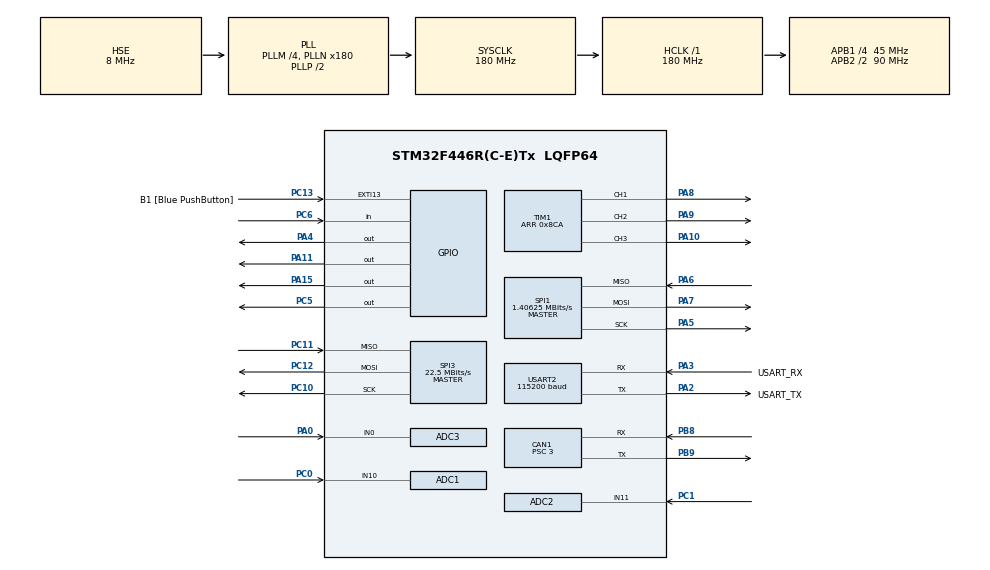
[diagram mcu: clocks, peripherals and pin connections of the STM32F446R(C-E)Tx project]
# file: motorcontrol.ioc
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ADC1.Channel-0\#ChannelRegularConversion=ADC_CHANNEL_10
ADC1.ClockPrescaler=ADC_CLOCK_SYNC_PCLK_DIV4
ADC1.EOCSelection=ADC_EOC_SINGLE_CONV
ADC1.ExternalTrigConv=ADC_SOFTWARE_START
ADC1.Mode=ADC_TRIPLEMODE_REGSIMULT
ADC1.NbrOfConversion=1
ADC1.NbrOfConversionFlag=1
ADC1.Rank-0\#ChannelRegularConversion=1
ADC1.SamplingTime-0\#ChannelRegularConversion=ADC_SAMPLETIME_3CYCLES
ADC1.master=1
ADC2.Channel-0\#ChannelRegularConversion=ADC_CHANNEL_11
ADC2.ClockPrescaler=ADC_CLOCK_SYNC_PCLK_DIV4
ADC2.Mode=ADC_TRIPLEMODE_REGSIMULT
ADC2.NbrOfConversionFlag=1
ADC2.Rank-0\#ChannelRegularConversion=1
ADC2.SamplingTime-0\#ChannelRegularConversion=ADC_SAMPLETIME_3CYCLES
ADC3.Channel-2\#ChannelRegularConversion=ADC_CHANNEL_0
ADC3.ClockPrescaler=ADC_CLOCK_SYNC_PCLK_DIV4
ADC3.Mode=ADC_TRIPLEMODE_REGSIMULT
ADC3.NbrOfConversionFlag=1
ADC3.Rank-2\#ChannelRegularConversion=1
ADC3.SamplingTime-2\#ChannelRegularConversion=ADC_SAMPLETIME_3CYCLES
CAN1.BS1=CAN_BS1_12TQ
CAN1.BS2=CAN_BS2_2TQ
CAN1.CalculateBaudRate=1000000
CAN1.CalculateTimeBit=1000
CAN1.CalculateTimeQuantum=66.66666666666666
CAN1.Prescaler=3
Mcu.Family=STM32F4
Mcu.Name=STM32F446R(C-E)Tx
Mcu.Package=LQFP64
NVIC.CAN1_RX0_IRQn=true\:0\:0\:false\:false\:true\:true\:true\:true
NVIC.PriorityGroup=NVIC_PRIORITYGROUP_1
NVIC.TIM1_UP_TIM10_IRQn=true\:0\:0\:false\:false\:true\:true\:true\:true
NVIC.USART2_IRQn=true\:1\:0\:true\:false\:true\:true\:true\:true
PA0-WKUP.Signal=ADCx_IN0
PA10.GPIO_Speed=GPIO_SPEED_FREQ_VERY_HIGH
PA10.Signal=S_TIM1_CH3
PA11.GPIO_Speed=GPIO_SPEED_FREQ_VERY_HIGH
PA11.Signal=GPIO_Output
PA13.GPIO_Label=TMS
PA13.Mode=Serial_Wire
PA13.Signal=SYS_JTMS-SWDIO
PA14.GPIO_Label=TCK
PA14.Mode=Serial_Wire
PA14.Signal=SYS_JTCK-SWCLK
PA15.GPIO_Speed=GPIO_SPEED_FREQ_VERY_HIGH
PA15.Signal=GPIO_Output
PA2.GPIO_Label=USART_TX
PA2.GPIO_PuPd=GPIO_PULLDOWN
PA2.Mode=Asynchronous
PA2.Signal=USART2_TX
PA3.GPIO_Label=USART_RX
PA3.GPIO_PuPd=GPIO_PULLDOWN
PA3.Mode=Asynchronous
PA3.Signal=USART2_RX
PA4.GPIO_Speed=GPIO_SPEED_FREQ_VERY_HIGH
PA4.Signal=GPIO_Output
PA5.Mode=Full_Duplex_Master
PA5.Signal=SPI1_SCK
PA6.Mode=Full_Duplex_Master
PA6.Signal=SPI1_MISO
PA7.Mode=Full_Duplex_Master
PA7.Signal=SPI1_MOSI
PA8.GPIO_Speed=GPIO_SPEED_FREQ_VERY_HIGH
PA8.Signal=S_TIM1_CH1
PA9.GPIO_Speed=GPIO_SPEED_FREQ_VERY_HIGH
PA9.Signal=S_TIM1_CH2
PB3.GPIO_Label=SWO
PB3.Signal=SYS_JTDO-SWO
PB8.Mode=CAN_Activate
PB8.Signal=CAN1_RX
PB9.Mode=CAN_Activate
PB9.Signal=CAN1_TX
PC0.Signal=ADCx_IN10
PC1.Signal=ADCx_IN11
PC10.Mode=Full_Duplex_Master
PC10.Signal=SPI3_SCK
PC11.Mode=Full_Duplex_Master
PC11.Signal=SPI3_MISO
PC12.Mode=Full_Duplex_Master
PC12.Signal=SPI3_MOSI
PC13.GPIO_Label=B1 [Blue PushButton]
PC13.GPIO_ModeDefaultEXTI=GPIO_MODE_IT_FALLING
PC13.Signal=GPXTI13
PC5.GPIO_Speed=GPIO_SPEED_FREQ_VERY_HIGH
PC5.Signal=GPIO_Output
PC6.Signal=GPIO_Input
PH0-OSC_IN.Mode=HSE-External-Oscillator
PH0-OSC_IN.Signal=RCC_OSC_IN
PH1-OSC_OUT.Mode=HSE-External-Oscillator
PH1-OSC_OUT.Signal=RCC_OSC_OUT
ProjectManager.HeapSize=0x200
ProjectManager.StackSize=0x400
ProjectManager.TargetToolchain=STM32CubeIDE
RCC.48MHZClocksFreq_Value=84000000
RCC.AHBFreq_Value=180000000
RCC.APB1CLKDivider=RCC_HCLK_DIV4
RCC.APB1Freq_Value=45000000
RCC.APB1TimFreq_Value=90000000
RCC.APB2CLKDivider=RCC_HCLK_DIV2
RCC.APB2Freq_Value=90000000
RCC.APB2TimFreq_Value=180000000
RCC.CortexFreq_Value=180000000
RCC.FLatency-AdvancedSettings=FLASH_LATENCY_5
RCC.HCLKFreq_Value=180000000
RCC.HSE_VALUE=8000000
RCC.HSI_VALUE=16000000
RCC.PLLM=4
RCC.PLLN=180
RCC.PLLSourceVirtual=RCC_PLLSOURCE_HSE
RCC.SYSCLKFreq_VALUE=180000000
RCC.SYSCLKSource=RCC_SYSCLKSOURCE_PLLCLK
RCC.USBFreq_Value=180000000
RCC.VCOOutputFreq_Value=360000000
SH.ADCx_IN0.0=ADC3_IN0,IN0
SH.ADCx_IN10.0=ADC1_IN10,IN10
SH.ADCx_IN11.0=ADC2_IN11,IN11
SH.S_TIM1_CH1.0=TIM1_CH1,PWM Generation1 CH1
SH.S_TIM1_CH2.0=TIM1_CH2,PWM Generation2 CH2
SH.S_TIM1_CH3.0=TIM1_CH3,PWM Generation3 CH3
SPI1.BaudRatePrescaler=SPI_BAUDRATEPRESCALER_64
SPI1.CLKPhase=SPI_PHASE_2EDGE
SPI1.CalculateBaudRate=1.40625 MBits/s
SPI1.DataSize=SPI_DATASIZE_16BIT
SPI1.Direction=SPI_DIRECTION_2LINES
SPI1.FirstBit=SPI_FIRSTBIT_MSB
SPI1.Mode=SPI_MODE_MASTER
SPI1.VirtualType=VM_MASTER
SPI3.BaudRatePrescaler=SPI_BAUDRATEPRESCALER_2
SPI3.CalculateBaudRate=22.5 MBits/s
SPI3.DataSize=SPI_DATASIZE_16BIT
SPI3.Direction=SPI_DIRECTION_2LINES
SPI3.Mode=SPI_MODE_MASTER
SPI3.VirtualType=VM_MASTER
TIM1.AutoReloadPreload=TIM_AUTORELOAD_PRELOAD_ENABLE
TIM1.BreakPolarity=TIM_BREAKPOLARITY_HIGH
TIM1.Channel-PWM\ Generation1\ CH1=TIM_CHANNEL_1
TIM1.Channel-PWM\ Generation2\ CH2=TIM_CHANNEL_2
TIM1.Channel-PWM\ Generation3\ CH3=TIM_CHANNEL_3
TIM1.CounterMode=TIM_COUNTERMODE_CENTERALIGNED1
TIM1.OCFastMode_PWM-PWM\ Generation1\ CH1=TIM_OCFAST_ENABLE
TIM1.OCFastMode_PWM-PWM\ Generation2\ CH2=TIM_OCFAST_ENABLE
TIM1.OCFastMode_PWM-PWM\ Generation3\ CH3=TIM_OCFAST_ENABLE
TIM1.OCPolarity_1=TIM_OCPOLARITY_LOW
TIM1.OCPolarity_2=TIM_OCPOLARITY_LOW
TIM1.OCPolarity_3=TIM_OCPOLARITY_LOW
TIM1.Period=0x8CA
TIM1.RepetitionCounter=1
USART2.BaudRate=115200
USART2.VirtualMode=VM_ASYNC
VP_TIM1_VS_ClockSourceINT.Mode=Internal
board=NUCLEO-F446RE

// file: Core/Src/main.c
/* USER CODE BEGIN Header */
/**
  ******************************************************************************
  * @file           : main.c
  * @brief          : Main program body
  ******************************************************************************
  * @attention
  *
  * <h2><center>&copy; Copyright (c) 2020 STMicroelectronics.
  * All rights reserved.</center></h2>
  *
  * This software component is licensed by ST under BSD 3-Clause license,
  * the "License"; You may not use this file except in compliance with the
  * License. You may obtain a copy of the License at:
  *                        opensource.org/licenses/BSD-3-Clause
  *
  ******************************************************************************
  */

/// high-bandwidth 3-phase motor control for robots
/// Written by Ben Katz, with much inspiration from Bayley Wang, Nick Kirkby, Shane Colton, David Otten, and others
/// Hardware documentation can be found at build-its.blogspot.com

/* USER CODE END Header */
#include "main.h"
#include "adc.h"
#include "can.h"
#include "spi.h"
#include "tim.h"
#include "usart.h"
#include "gpio.h"

/* USER CODE BEGIN Includes */
#include "structs.h"
#include <stdio.h>
#include <string.h>

#include "stm32f4xx_flash.h"
#include "flash_writer.h"
#include "position_sensor.h"
#include "preference_writer.h"
#include "hw_config.h"
#include "user_config.h"
#include "fsm.h"
#include "drv8323.h"
#include "foc.h"
#include "math_ops.h"
#include "calibration.h"
#include "version_info.h"
/* USER CODE END Includes */

/* USER CODE BEGIN PM */

//#define VERSION_NUM 2.0f -> defined in main.h (because CAN pack_reply needs to use)

/* USER CODE END PM */

/* USER CODE BEGIN PV */

/* Flash Registers */
float __float_reg[FLOAT_REG_LENGTH];
int __int_reg[INT_REG_LENGTH];
PreferenceWriter prefs;

int count = 0;

/* Structs for control, etc */

ControllerStruct controller;
ObserverStruct observer;
COMStruct com;
FSMStruct state;
EncoderStruct comm_encoder;
DRVStruct drv;
CalStruct comm_encoder_cal;
CANTxMessage can_tx;
CANRxMessage can_rx;
HallCalStruct hall_cal;

/* init but don't allocate calibration arrays */
int *error_array = NULL;
int *lut_array = NULL;

uint8_t Serial2RxBuffer[1];

/* USER CODE END PV */

void SystemClock_Config(void);

int main(void)
{

  /* MCU Configuration--------------------------------------------------------*/

  /* Reset of all peripherals, Initializes the Flash interface and the Systick. */
  HAL_Init();

  /* Configure the system clock */
  SystemClock_Config();

  /* Initialize all configured peripherals */
  MX_GPIO_Init();
  MX_USART2_UART_Init();
  MX_TIM1_Init();
  MX_CAN1_Init();
  MX_SPI1_Init();
  MX_SPI3_Init();
  MX_ADC1_Init();
  MX_ADC2_Init();
  MX_ADC3_Init();
  /* USER CODE BEGIN 2 */

  /* Load settings from flash */
  preference_writer_init(&prefs, 6);
  preference_writer_load(prefs);

  /* Sanitize configs in case flash is empty or is wrong value*/
  if(                          MIN_E_ZERO > E_ZERO                   || MAX_E_ZERO < E_ZERO)                   {E_ZERO = 0;}
  if(                          MIN_M_ZERO > M_ZERO                   || MAX_M_ZERO < M_ZERO)                   {M_ZERO = 0;}
  if(isnan(GR)              || MIN_GR > GR		                     || MAX_GR < GR)                 		   {GR = 6.0f;}
  if(isnan(KT)	            || MIN_KT > KT                           || MAX_KT < KT)                           {KT = 0.08f;}
  if(isnan(I_BW)            || MIN_I_BW > I_BW                       || MAX_I_BW < I_BW)				       {I_BW = 1000;}
  if(isnan(I_MAX)           || MIN_I_MAX > I_MAX                     || MAX_I_MAX < I_MAX)					   {I_MAX = 40;}
  if(isnan(P_MAX)           || MIN_P_MAX > P_MAX                     || MAX_P_MAX < P_MAX)	                   {P_MAX = 6.283f;}
  if(isnan(P_MIN)           || MIN_P_MIN > P_MIN                     || MAX_P_MIN < P_MIN)	                   {P_MIN = 0.0f;}
  if(isnan(V_MAX)           || MIN_V_MAX > V_MAX                     || MAX_V_MAX < V_MAX)	                   {V_MAX = 45.0f;}
  if(isnan(V_MIN)           || MIN_V_MIN > V_MIN                     || MAX_V_MIN < V_MIN)	                   {V_MIN = -45.0f;}
  if(isnan(T_MAX)           || MIN_T_MAX > T_MAX                     || MAX_T_MAX < T_MAX)                     {T_MAX = 20.0f;}
  if(isnan(T_MIN)           || MIN_T_MIN > T_MIN                     || MAX_T_MIN < T_MIN)	                   {T_MIN = -20.0f;}
  if(isnan(KP_MAX)          || MIN_KP_MAX > KP_MAX                   || MAX_KP_MAX < KP_MAX)			       {KP_MAX = 500.0f;}
  if(isnan(KI_MAX)          || MIN_KI_MAX > KI_MAX                   || MAX_KI_MAX < KI_MAX)      			   {KI_MAX = 0.0f;}
  if(isnan(KD_MAX)          || MIN_KD_MAX > KD_MAX                   || MAX_KD_MAX < KD_MAX)				   {KD_MAX = 5.0f;}
  if(isnan(I_FW_MAX)        || MIN_I_FW_MAX > I_FW_MAX               || MAX_I_FW_MAX < I_FW_MAX)			   {I_FW_MAX = 0.0f;}
  if(isnan(I_MAX_CONT)      || MIN_I_MAX_CONT > I_MAX_CONT           || MAX_I_MAX_CONT < I_MAX_CONT)           {I_MAX_CONT = 14.0f;}
  if(isnan(I_CAL)           || MIN_I_CAL > I_CAL                     || MAX_I_CAL < I_CAL)					   {I_CAL = 5.0f;}
  if(HALL_CAL_DIR != 1 && HALL_CAL_DIR != -1)												      			   {HALL_CAL_DIR = 1;}
  if(isnan(HALL_CAL_OFFSET) || MIN_HALL_CAL_OFFSET > HALL_CAL_OFFSET || MAX_HALL_CAL_OFFSET < HALL_CAL_OFFSET) {HALL_CAL_OFFSET = 0.0f;}
  if(isnan(HALL_CAL_SPEED)  || MIN_HALL_CAL_SPEED > HALL_CAL_SPEED   || MAX_HALL_CAL_SPEED < HALL_CAL_SPEED)   {HALL_CAL_SPEED = 0.25f;}
  if(						   MIN_CAN_ID > CAN_ID                   || MAX_CAN_ID < CAN_ID)                   {CAN_ID = 1;}
  if(                          MIN_CAN_MASTER > CAN_MASTER           || MAX_CAN_MASTER < CAN_MASTER)           {CAN_MASTER = 0;}
  if(                          MIN_CAN_TIMEOUT > CAN_TIMEOUT         || MAX_CAN_TIMEOUT < CAN_TIMEOUT)         {CAN_TIMEOUT = 0;}
  if(isnan(R_NOMINAL)       || MIN_R_NOMINAL > R_NOMINAL             || MAX_R_NOMINAL < R_NOMINAL)             {R_NOMINAL = 0.0f;}
  if(isnan(TEMP_MAX)        || MIN_TEMP_MAX > TEMP_MAX               || MAX_TEMP_MAX < TEMP_MAX)               {TEMP_MAX = 125.0f;}
  if(isnan(PPAIRS)          || MIN_PPAIRS > PPAIRS                   || MAX_PPAIRS < PPAIRS)                   {PPAIRS = 21.0f;}

  user_config_initialize();

//  printf("\r\nFirmware Version Number: %.2f\r\n", VERSION_NUM);
  printf("\r\n= = = = = Version Information = = = = =\r\n");
  printf("\r\nFirmware Version:  %s\r\n", FIRMWARE_VERSION);
  printf("\r\nBuild Date:  %s\r\n", FIRMWARE_DATE);
  printf("Build Time:  %s\r\n", FIRMWARE_TIME);
  printf("\r\nAuthor:  %s\r\n", AUTHOR_NAME);
  printf("\r\nModification Info:  %s\r\n", MODIFICATION_INFO);
  printf("\r\n= = = = = Program Started = = = = =\r\n");

  /* Controller Setup */
  if(PHASE_ORDER){							// Timer channel to phase mapping

  }
  else{

  }

  init_controller_params(&controller);

  /* calibration "encoder" zeroing */
  memset(&comm_encoder_cal.cal_position, 0, sizeof(EncoderStruct));

  /* initialize the parameters of hall sensor */
  hall_cal.hall_input = 1;
  hall_cal.hall_preinput = 1;
  hall_cal.hall_cal_pcmd = 0;
  hall_cal.hall_cal_speed = 0.25; // rad/s
  hall_cal.hall_present_pos = 0; // calibrate the previous position of encoder
  hall_cal.hall_in_pos = 0;  // read the position from 1 to 0 (magnet enters the area of hall sensor)
  hall_cal.hall_out_pos = 0; // read the position from 0 to 1 (magnet exits the area of hall sensor)
  hall_cal.hall_mid_pos = 0;
  hall_cal. hall_cal_offset = 0; // rad
  hall_cal.hall_cal_count = 0;
  hall_cal.hall_cal_state = CODE_HALL_UNCALIBRATED;

  /* commutation encoder setup */
  comm_encoder.m_zero = M_ZERO;
  comm_encoder.e_zero = E_ZERO;
  comm_encoder.ppairs = PPAIRS;

  if(EN_ENC_LINEARIZATION){memcpy(&comm_encoder.offset_lut, &ENCODER_LUT, sizeof(comm_encoder.offset_lut));}	// Copy the linearization lookup table
  else{memset(&comm_encoder.offset_lut, 0, sizeof(comm_encoder.offset_lut));}
  ps_warmup(&comm_encoder, 100);			// clear the noisy data when the encoder first turns on

  //for(int i = 0; i<128; i++){printf("%d\r\n", comm_encoder.offset_lut[i]);}

  /* Turn on ADCs */
  HAL_ADC_Start(&hadc1);
  HAL_ADC_Start(&hadc2);
  HAL_ADC_Start(&hadc3);

  /* DRV8323 setup */
  DRV_CS_HIGH; 	// CS high
  GPIO_ENABLE;   // GPIO ENABLE_PIN HIGH
  HAL_Delay(1);
  drv_calibrate(drv);
  HAL_Delay(1);
  drv_write_DCR(drv, 0x0, 0x0, 0x0, PWM_MODE_3X, 0x0, 0x0, 0x0, 0x0, 0x1);
  HAL_Delay(1);
  drv_write_CSACR(drv, 0x0, 0x1, 0x0, CSA_GAIN_40, 0x0, 0x0, 0x0, 0x0, SEN_LVL_1_0);
  HAL_Delay(1);
  drv_write_OCPCR(drv, TRETRY_4MS, DEADTIME_200NS, OCP_RETRY, OCP_DEG_8US, VDS_LVL_1_88);
  zero_current(&controller);
  drv_enable_gd(drv);
  GPIO_DISABLE;
//  printf("ADC A OFFSET: %d     ADC B OFFSET: %d\r\n", controller.adc_a_offset, controller.adc_b_offset);

  /* Turn on PWM */
  HAL_TIM_PWM_Start(&htim1, TIM_CHANNEL_1);
  HAL_TIM_PWM_Start(&htim1, TIM_CHANNEL_2);
  HAL_TIM_PWM_Start(&htim1, TIM_CHANNEL_3);

  /* CAN setup */
  can_rx_init(&can_rx);
  can_tx_init(&can_tx);
  HAL_CAN_Start(&CAN_H); //start CAN
  //__HAL_CAN_ENABLE_IT(&CAN_H, CAN_IT_RX_FIFO0_MSG_PENDING); // Start can interrupt

  /* Set Interrupt Priorities */
  HAL_NVIC_SetPriority(PWM_ISR, 0x0,0x0); // commutation > communication
  HAL_NVIC_SetPriority(CAN_ISR, 0x01, 0x01);

  /* Start the FSM */
  state.state = MENU_MODE;
  state.next_state = MENU_MODE;
  state.ready = 1;
  state.print_uart_msg = 0;
  enter_menu_state();

  /* Turn on interrupts */
  HAL_UART_Receive_IT(&huart2, (uint8_t *)Serial2RxBuffer, 1);
  HAL_TIM_Base_Start_IT(&htim1);

  /* USER CODE END 2 */

  /* Infinite loop */
  /* USER CODE BEGIN WHILE */
  while (1)
  {

	  HAL_Delay(100);
	 // drv_print_faults(drv);
	 // if(state.state==MOTOR_MODE){
	  	  //printf("%.2f %.2f %.2f %.2f %.2f\r\n", controller.p_des, controller.v_des, controller.kp, controller.kd, controller.t_ff);
	  //}
    /* USER CODE END WHILE */

  }
}

void SystemClock_Config(void)
{
  RCC_OscInitTypeDef RCC_OscInitStruct = {0};
  RCC_ClkInitTypeDef RCC_ClkInitStruct = {0};

  /** Configure the main internal regulator output voltage
  */
  __HAL_RCC_PWR_CLK_ENABLE();
  __HAL_PWR_VOLTAGESCALING_CONFIG(PWR_REGULATOR_VOLTAGE_SCALE1);
  /** Initializes the RCC Oscillators according to the specified parameters
  * in the RCC_OscInitTypeDef structure.
  */
  RCC_OscInitStruct.OscillatorType = RCC_OSCILLATORTYPE_HSE;
  RCC_OscInitStruct.HSEState = RCC_HSE_ON;
  RCC_OscInitStruct.PLL.PLLState = RCC_PLL_ON;
  RCC_OscInitStruct.PLL.PLLSource = RCC_PLLSOURCE_HSE;
  RCC_OscInitStruct.PLL.PLLM = 4;
  RCC_OscInitStruct.PLL.PLLN = 180;
  RCC_OscInitStruct.PLL.PLLP = RCC_PLLP_DIV2;
  RCC_OscInitStruct.PLL.PLLQ = 2;
  RCC_OscInitStruct.PLL.PLLR = 2;
  if (HAL_RCC_OscConfig(&RCC_OscInitStruct) != HAL_OK)
  {
    Error_Handler();
  }
  /** Activate the Over-Drive mode
  */
  if (HAL_PWREx_EnableOverDrive() != HAL_OK)
  {
    Error_Handler();
  }
  /** Initializes the CPU, AHB and APB buses clocks
  */
  RCC_ClkInitStruct.ClockType = RCC_CLOCKTYPE_HCLK|RCC_CLOCKTYPE_SYSCLK
                              |RCC_CLOCKTYPE_PCLK1|RCC_CLOCKTYPE_PCLK2;
  RCC_ClkInitStruct.SYSCLKSource = RCC_SYSCLKSOURCE_PLLCLK;
  RCC_ClkInitStruct.AHBCLKDivider = RCC_SYSCLK_DIV1;
  RCC_ClkInitStruct.APB1CLKDivider = RCC_HCLK_DIV4;
  RCC_ClkInitStruct.APB2CLKDivider = RCC_HCLK_DIV2;

  if (HAL_RCC_ClockConfig(&RCC_ClkInitStruct, FLASH_LATENCY_5) != HAL_OK)
  {
    Error_Handler();
  }
}

void Error_Handler(void)
{
}

/************************ (C) COPYRIGHT STMicroelectronics *****END OF FILE****/
